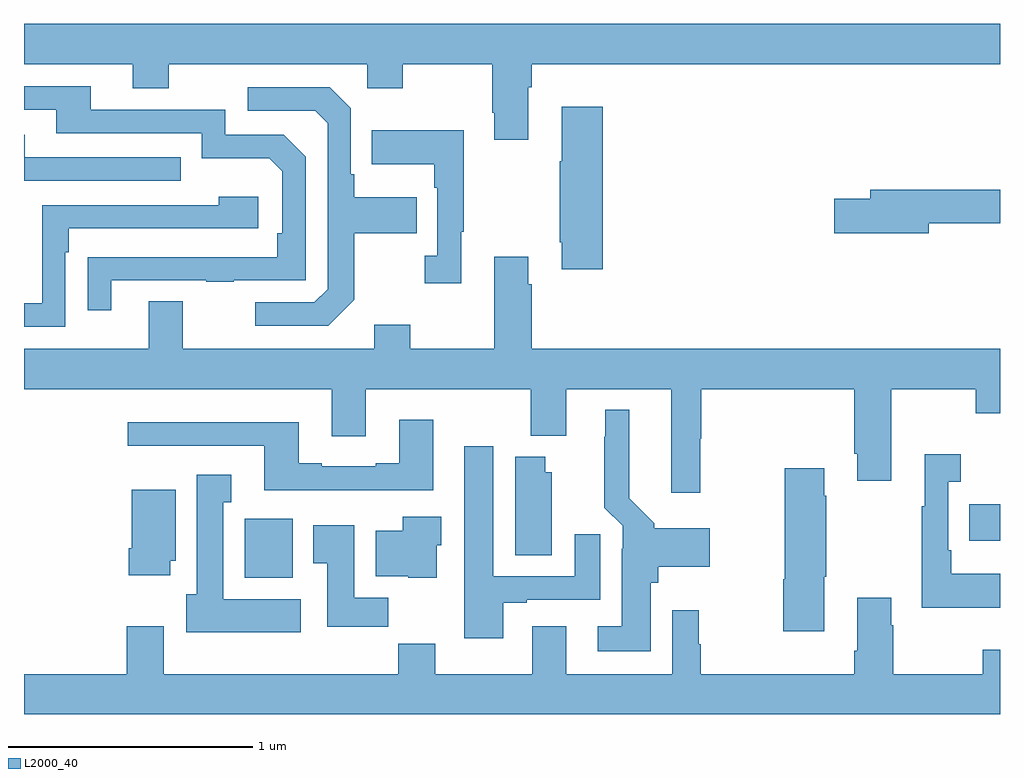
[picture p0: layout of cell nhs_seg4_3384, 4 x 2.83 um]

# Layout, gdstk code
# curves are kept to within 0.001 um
import gdstk
lib = gdstk.Library(unit=1e-6, precision=1e-09)
def R(c, l, rs):  # rectangles x0, y0, x1, y1
    for r in rs: c.add(gdstk.rectangle(r[:2], r[2:], *l))
def P(c, l, *ps):  # polygons
    for p in ps: c.add(gdstk.Polygon(p, *l))
L2000_40 = (2000, 40)

nhs_seg4_3384 = lib.new_cell('nhs_seg4_3384')
R(nhs_seg4_3384, L2000_40, [(289.904,820.022,290.101,820.264), (292.873,820.175,293,820.323)])
P(nhs_seg4_3384, L2000_40, [(291.067,822.032),(291.08,822.032),(291.08,822.128),(293,822.128),(293,822.292),(289,822.292),(289,822.128),(289.445,822.128),(289.445,822.029),(289.593,822.029),(289.593,822.128),(290.406,822.128),(290.406,822.029),(290.553,822.029),(290.553,822.128),(290.92,822.128),(290.92,821.929),(290.927,821.929),(290.927,821.817),(291.067,821.817)],
  [(289.357,821.241),(289.747,821.241),(289.747,821.236),(289.859,821.236),(289.859,821.241),(290.154,821.241),(290.154,821.748),(290.064,821.838),(289.824,821.838),(289.824,821.94),(289.273,821.94),(289.273,822.036),(289,822.036),(289,821.94),(289.133,821.94),(289.133,821.844),(289.728,821.844),(289.728,821.741),(290.005,821.741),(290.058,821.688),(290.058,821.434),(290.038,821.434),(290.038,821.337),(289.261,821.336),(289.261,821.118),(289.357,821.118)],
  [(290.353,821.161),(290.353,821.434),(290.609,821.434),(290.609,821.581),(290.353,821.581),(290.353,821.677),(290.34,821.677),(290.34,821.946),(290.253,822.033),(289.917,822.033),(289.917,821.937),(290.193,821.937),(290.244,821.886),(290.244,821.205),(290.19,821.151),(289.947,821.151),(289.947,821.055),(290.247,821.055)],
  [(291.371,821.953),(291.203,821.953),(291.203,821.729),(291.196,821.729),(291.196,821.398),(291.203,821.398),(291.203,821.286),(291.371,821.286)],
  [(290.791,821.441),(290.803,821.441),(290.803,821.857),(290.425,821.857),(290.425,821.717),(290.682,821.717),(290.682,821.621),(290.694,821.621),(290.694,821.342),(290.643,821.342),(290.643,821.229),(290.791,821.229)],
  [(289.643,821.745),(289.003,821.745),(289.003,821.839),(289,821.839),(289,821.649),(289.643,821.649)],
  [(292.708,821.476),(293,821.476),(293,821.612),(292.469,821.612),(292.469,821.576),(292.32,821.576),(292.32,821.434),(292.708,821.434)],
  [(289.17,821.357),(289.183,821.357),(289.183,821.454),(289.96,821.454),(289.96,821.584),(289.799,821.584),(289.799,821.55),(289.074,821.55),(289.074,821.148),(289,821.148),(289,821.052),(289.17,821.052)],
  [(291.771,820.592),(291.776,820.592),(291.776,820.796),(292.403,820.796),(292.403,820.531),(292.415,820.531),(292.415,820.419),(292.555,820.419),(292.555,820.796),(292.9,820.796),(292.9,820.697),(293,820.697),(293,820.96),(291.08,820.96),(291.08,821.225),(291.067,821.225),(291.067,821.338),(290.927,821.338),(290.927,820.96),(290.583,820.96),(290.583,821.059),(290.435,821.059),(290.435,820.96),(289.651,820.96),(289.651,821.155),(289.511,821.155),(289.511,820.96),(289,820.96),(289,820.796),(290.261,820.796),(290.261,820.602),(290.401,820.602),(290.401,820.796),(291.076,820.796),(291.076,820.604),(291.223,820.604),(291.223,820.796),(291.653,820.796),(291.653,820.371),(291.771,820.371)],
  [(291.568,820.002),(291.599,820.002),(291.599,820.067),(291.811,820.067),(291.811,820.225),(291.582,820.225),(291.582,820.246),(291.481,820.348),(291.481,820.711),(291.383,820.711),(291.383,820.601),(291.379,820.601),(291.379,820.31),(291.453,820.236),(291.453,820.142),(291.449,820.142),(291.449,819.823),(291.351,819.823),(291.351,819.722),(291.568,819.722)],
  [(290.677,820.669),(290.537,820.669),(290.537,820.492),(290.441,820.492),(290.441,820.479),(290.221,820.479),(290.221,820.492),(290.125,820.492),(290.125,820.66),(289.425,820.66),(289.425,820.563),(289.985,820.563),(289.985,820.382),(290.677,820.382)],
  [(290.965,819.921),(291.061,819.921),(291.061,819.933),(291.361,819.933),(291.361,820.201),(291.257,820.201),(291.257,820.029),(290.923,820.029),(290.923,820.561),(290.804,820.561),(290.804,819.774),(290.965,819.774)],
  [(293,820.039),(292.801,820.039),(292.801,820.135),(292.788,820.135),(292.788,820.415),(292.84,820.415),(292.84,820.528),(292.691,820.528),(292.691,820.315),(292.68,820.315),(292.68,819.899),(293,819.899)],
  [(291.163,820.455),(291.136,820.455),(291.136,820.519),(291.014,820.519),(291.014,820.114),(291.163,820.114)],
  [(292.279,820.027),(292.287,820.027),(292.287,820.358),(292.279,820.358),(292.279,820.471),(292.117,820.471),(292.117,820.016),(292.112,820.016),(292.112,819.804),(292.279,819.804)],
  [(290.134,819.934),(289.816,819.934),(289.816,820.331),(289.849,820.331),(289.849,820.444),(289.709,820.444),(289.709,819.954),(289.664,819.954),(289.664,819.8),(290.134,819.8)],
  [(289.6,820.092),(289.621,820.092),(289.621,820.384),(289.442,820.384),(289.442,820.144),(289.43,820.144),(289.43,820.032),(289.6,820.032)],
  [(290.692,820.155),(290.71,820.155),(290.71,820.273),(290.552,820.273),(290.552,820.216),(290.441,820.216),(290.441,820.028),(290.574,820.028),(290.574,820.022),(290.692,820.022)],
  [(290.492,819.94),(290.353,819.94),(290.353,820.237),(290.186,820.237),(290.186,820.081),(290.243,820.081),(290.243,819.822),(290.492,819.822)],
  [(293,819.727),(292.93,819.727),(292.93,819.628),(292.563,819.628),(292.563,819.827),(292.555,819.827),(292.555,819.94),(292.415,819.94),(292.415,819.724),(292.403,819.724),(292.403,819.628),(291.773,819.628),(291.773,819.75),(291.766,819.75),(291.766,819.889),(291.657,819.889),(291.657,819.628),(291.223,819.628),(291.223,819.823),(291.083,819.823),(291.083,819.628),(290.685,819.628),(290.685,819.752),(290.533,819.752),(290.533,819.628),(289.573,819.628),(289.573,819.823),(289.421,819.823),(289.421,819.628),(289,819.628),(289,819.464),(293,819.464)])

lib.write_gds('nhs_seg4_3384.gds')
